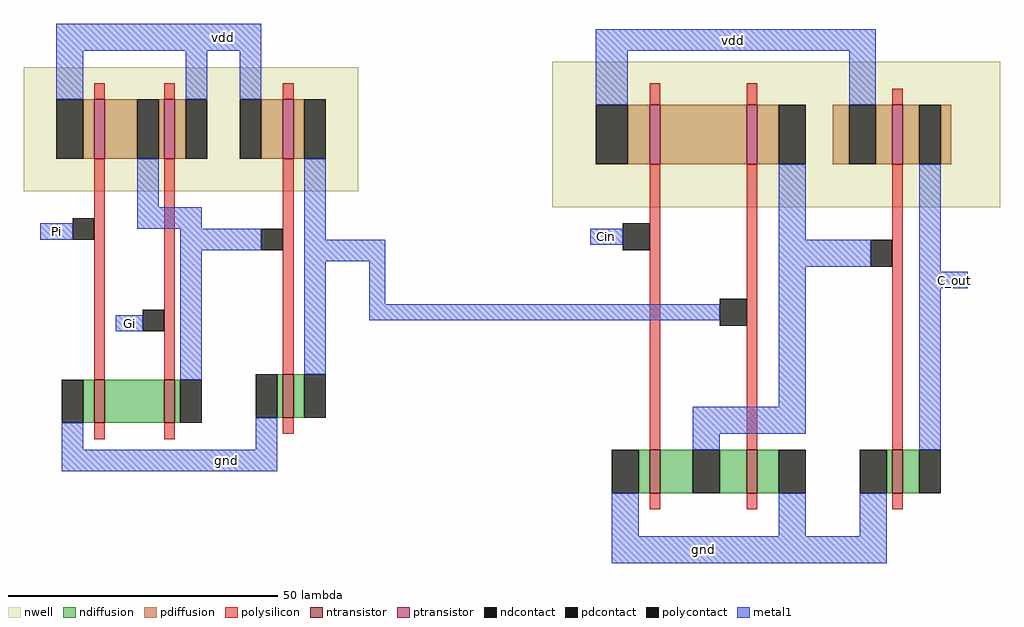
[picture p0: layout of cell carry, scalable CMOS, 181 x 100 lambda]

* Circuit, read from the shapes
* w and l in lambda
.subckt carry C_out Cin Gi Pi gnd vdd
M1 n1 Pi gnd VSUBS nfet w=8 l=2
M2 n2 Gi n1 VSUBS nfet w=8 l=2
M3 n3 n2 gnd VSUBS nfet w=8 l=2
M4 n4 Cin gnd VSUBS nfet w=8 l=2
M5 gnd n3 n4 VSUBS nfet w=8 l=2
M6 C_out n4 gnd VSUBS nfet w=8 l=2
M7 n2 Pi vdd n5 pfet w=11 l=2
M8 vdd Gi n2 n5 pfet w=11 l=2
M9 n3 n2 vdd n5 pfet w=11 l=2
M10 n6 Cin vdd n7 pfet w=11 l=2
M11 n4 n3 n6 n7 pfet w=11 l=2
M12 C_out n4 vdd n7 pfet w=11 l=2
.ends

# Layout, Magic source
magic
tech scmos
<< nwell >>
rect -52 30 10 53
rect 46 27 129 54
<< ntransistor >>
rect -39 -13 -37 -5
rect -26 -13 -24 -5
rect -4 -12 -2 -4
rect 64 -26 66 -18
rect 82 -26 84 -18
rect 109 -26 111 -18
<< ptransistor >>
rect -39 36 -37 47
rect -26 36 -24 47
rect -4 36 -2 47
rect 64 35 66 46
rect 82 35 84 46
rect 109 35 111 46
<< ndiffusion >>
rect -41 -13 -39 -5
rect -37 -13 -26 -5
rect -24 -13 -23 -5
rect -5 -12 -4 -4
rect -2 -12 0 -4
rect 62 -26 64 -18
rect 66 -26 72 -18
rect 77 -26 82 -18
rect 84 -26 88 -18
rect 108 -26 109 -18
rect 111 -26 114 -18
<< pdiffusion >>
rect -41 36 -39 47
rect -37 36 -31 47
rect -27 36 -26 47
rect -24 36 -22 47
rect -8 36 -4 47
rect -2 36 0 47
rect 60 35 64 46
rect 66 35 82 46
rect 84 35 88 46
rect 98 35 101 46
rect 106 35 109 46
rect 111 35 114 46
rect 118 35 120 46
<< ndcontact >>
rect -45 -13 -41 -5
rect -23 -13 -19 -5
rect -9 -12 -5 -4
rect 0 -12 4 -4
rect 57 -26 62 -18
rect 72 -26 77 -18
rect 88 -26 93 -18
rect 103 -26 108 -18
rect 114 -26 118 -18
<< pdcontact >>
rect -46 36 -41 47
rect -31 36 -27 47
rect -22 36 -18 47
rect -12 36 -8 47
rect 0 36 4 47
rect 54 35 60 46
rect 88 35 93 46
rect 101 35 106 46
rect 114 35 118 46
<< polysilicon >>
rect -39 47 -37 50
rect -26 47 -24 50
rect -4 47 -2 50
rect 64 46 66 50
rect 82 46 84 50
rect 109 46 111 49
rect -39 -5 -37 36
rect -26 -5 -24 36
rect -4 -4 -2 36
rect -39 -16 -37 -13
rect -26 -16 -24 -13
rect -4 -15 -2 -12
rect 64 -18 66 35
rect 82 -18 84 35
rect 109 -18 111 35
rect 64 -29 66 -26
rect 82 -29 84 -26
rect 109 -29 111 -26
<< polycontact >>
rect -43 21 -39 25
rect -30 4 -26 8
rect -8 19 -4 23
rect 59 19 64 24
rect 77 5 82 10
rect 105 16 109 21
<< metal1 >>
rect -46 56 -8 61
rect -46 47 -41 56
rect -22 47 -18 56
rect -12 47 -8 56
rect 54 56 106 60
rect -31 27 -27 36
rect -49 21 -43 24
rect -31 23 -19 27
rect -23 19 -8 23
rect 0 21 4 36
rect 54 46 60 56
rect 101 46 106 56
rect -35 4 -30 7
rect -23 -5 -19 19
rect 0 17 15 21
rect 53 20 59 23
rect 88 21 93 35
rect 0 -4 4 17
rect 12 9 15 17
rect 88 16 105 21
rect 12 6 77 9
rect 88 -10 93 16
rect -45 -18 -41 -13
rect -9 -18 -5 -12
rect 72 -15 93 -10
rect 114 15 118 35
rect 114 12 123 15
rect 72 -18 77 -15
rect 114 -18 118 12
rect -45 -22 -5 -18
rect 57 -34 62 -26
rect 88 -34 93 -26
rect 103 -34 108 -26
rect 57 -39 108 -34
<< labels >>
rlabel metal1 -18 56 -12 61 5 vdd
rlabel metal1 -17 -22 -12 -18 1 gnd
rlabel metal1 71 -39 77 -34 1 gnd
rlabel metal1 74 56 85 60 5 vdd
rlabel metal1 53 20 59 23 1 Cin
rlabel metal1 -49 21 -43 24 1 Pi
rlabel metal1 -35 4 -30 7 1 Gi
rlabel metal1 118 12 123 15 1 C_out
<< end >>
